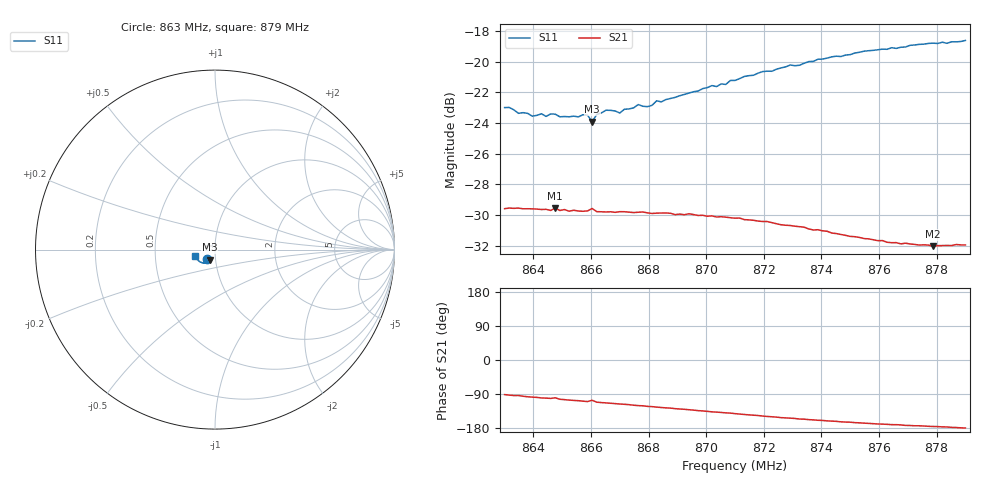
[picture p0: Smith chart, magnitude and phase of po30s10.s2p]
# HZ S RI R 50
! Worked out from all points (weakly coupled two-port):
!   101 points, 863 MHz to 879 MHz, reference 50 ohm
!   highest |S21| = -29.55 dB at 864.76 MHz (marker M1); lowest = -32.0 dB at 877.88 MHz (marker M2)
!   lowest |S11| = -23.9 dB at 866.04 MHz (marker M3), VSWR 1.14, Z = 46.8 - j5.26 ohm
!   |S11| at or under -10 dB: start of sweep to end of sweep
!   S12 and S22 are empty: the file has one direction only
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8.63e8  -0.0456 -0.0542  -0.000763 -0.0332  0 0  0 0
8.6396e8  -0.0404 -0.0527  -0.00461 -0.0328  0 0  0 0
8.6444e8  -0.0393 -0.0534  -0.00605 -0.0324  0 0  0 0
8.646e8  -0.0397 -0.0547  -0.00645 -0.0321  0 0  0 0
8.6476e8  -0.0367 -0.0566  -0.00564 -0.0328  0 0  0 0
8.6492e8  -0.0378 -0.0543  -0.00773 -0.0318  0 0  0 0
8.6572e8  -0.0348 -0.0574  -0.0104 -0.0308  0 0  0 0
8.6588e8  -0.0361 -0.0563  -0.011 -0.0307  0 0  0 0
8.6604e8  -0.0303 -0.056  -0.00931 -0.0319  0 0  0 0
8.662e8  -0.0357 -0.0571  -0.0118 -0.0302  0 0  0 0
8.6652e8  -0.0355 -0.0598  -0.0127 -0.0297  0 0  0 0
8.67e8  -0.0349 -0.0584  -0.0143 -0.0291  0 0  0 0
8.6764e8  -0.0364 -0.0627  -0.0163 -0.0279  0 0  0 0
8.6796e8  -0.0357 -0.0618  -0.0172 -0.0272  0 0  0 0
8.6828e8  -0.0367 -0.065  -0.0181 -0.0265  0 0  0 0
8.6844e8  -0.0362 -0.0645  -0.0186 -0.0262  0 0  0 0
8.71e8  -0.0477 -0.0726  -0.0242 -0.0192  0 0  0 0
8.7196e8  -0.0536 -0.0759  -0.0255 -0.016  0 0  0 0
8.7372e8  -0.0673 -0.0743  -0.0262 -0.0106  0 0  0 0
8.7644e8  -0.0926 -0.0614  -0.0253 -0.00421  0 0  0 0
8.7788e8  -0.1041 -0.0488  -0.0249 -0.00198  0 0  0 0
8.79e8  -0.111 -0.0382  -0.0253 -0.000223  0 0  0 0
